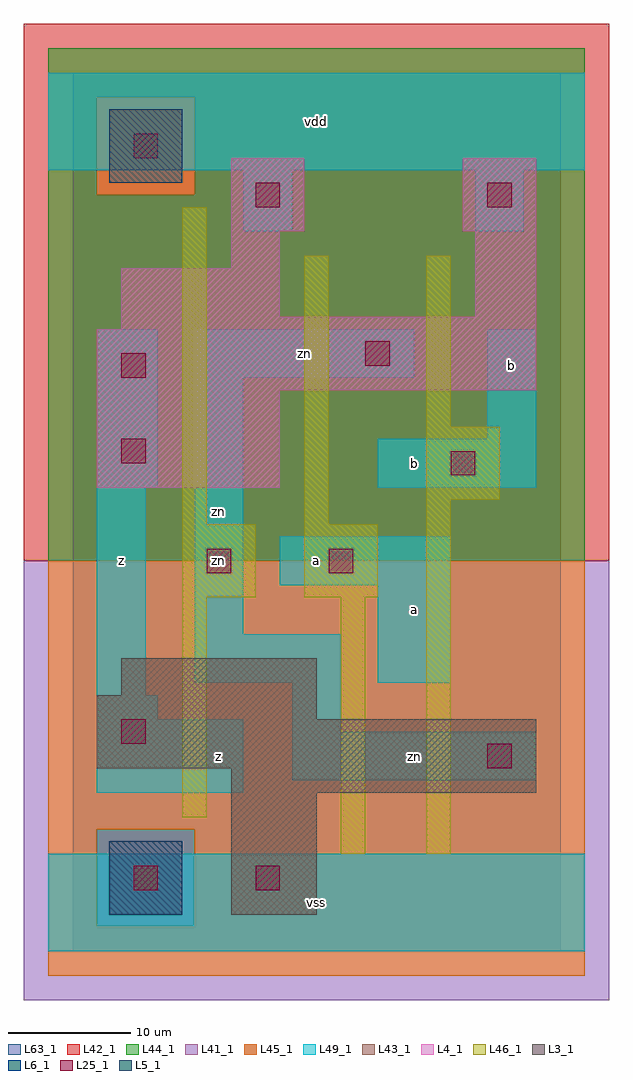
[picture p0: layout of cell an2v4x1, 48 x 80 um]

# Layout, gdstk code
import gdstk
lib = gdstk.Library(unit=1e-6, precision=1e-09)
def R(c, l, rs):  # rectangles x0, y0, x1, y1
    for r in rs: c.add(gdstk.rectangle(r[:2], r[2:], *l))
L3_1 = (3, 1)
L4_1 = (4, 1)
L5_1 = (5, 1)
L6_1 = (6, 1)
L25_1 = (25, 1)
L41_1 = (41, 1)
L42_1 = (42, 1)
L43_1 = (43, 1)
L44_1 = (44, 1)
L45_1 = (45, 1)
L46_1 = (46, 1)
L49_1 = (49, 1)
L63_1 = (63, 1)

an2v4x1 = lib.new_cell('an2v4x1')
R(an2v4x1, L3_1, [(13,3,20,13), (13,13,38,15), (2,15,38,19), (2,19,20,21), (4,21,20,24)])
R(an2v4x1, L4_1, [(2,38,17,46), (2,46,38,51), (4,51,38,52), (4,52,17,56), (33,52,38,59), (13,56,17,59), (13,59,19,65), (32,59,38,65)])
R(an2v4x1, L5_1, [(3,63,9,69)])
R(an2v4x1, L6_1, [(3,3,9,9), (3,3,9,9)])
R(an2v4x1, L25_1, [(5,5,7,7), (15,5,17,7), (34,15,36,17), (4,17,6,19), (11,31,13,33), (21,31,23,33), (31,39,33,41), (4,40,6,42), (4,47,6,49), (24,48,26,50), (15,61,17,63), (34,61,36,63), (5,65,7,67)])
R(an2v4x1, L41_1, [(-4,-4,44,32)])
R(an2v4x1, L42_1, [(-4,32,44,76)])
R(an2v4x1, L43_1, [(3,3,9,9), (13,3,20,13), (13,13,38,15), (2,15,38,19), (2,19,20,21), (4,21,20,24), (2,38,17,46), (2,46,38,51), (4,51,38,52), (4,52,17,56), (33,52,38,59), (13,56,17,59), (13,59,19,65), (32,59,38,65), (3,63,9,69)])
R(an2v4x1, L44_1, [(2,2,10,10), (-2,32,42,62), (-2,62,2,70), (10,62,42,70), (-2,70,42,74)])
R(an2v4x1, L45_1, [(-2,-2,42,2), (-2,2,2,10), (10,2,42,10), (-2,10,42,32), (2,62,10,70)])
R(an2v4x1, L46_1, [(22,8,24,29), (29,8,31,37), (9,11,11,29), (9,29,15,35), (19,29,25,35), (9,35,11,61), (19,35,21,57), (29,37,35,43), (29,43,31,57)])
R(an2v4x1, L49_1, [(-2,0,42,8), (2,13,14,19), (18,14,38,18), (18,18,22,22), (2,19,7,21), (2,21,6,38), (10,22,22,26), (25,22,31,30), (10,26,14,47), (17,30,31,34), (2,38,7,51), (25,38,38,42), (34,42,38,51), (10,47,28,51), (14,59,18,64), (33,59,37,64), (-2,64,42,72)])
R(an2v4x1, L63_1, [(0,0,40,72)])
an2v4x1.add(gdstk.Label('zn', (12,32), layer=49, texttype=1))
an2v4x1.add(gdstk.Label('z', (4,32), layer=49, texttype=1))
an2v4x1.add(gdstk.Label('z', (12,16), layer=49, texttype=1))
an2v4x1.add(gdstk.Label('zn', (12,36), layer=49, texttype=1))
an2v4x1.add(gdstk.Label('vss', (20,4), layer=49, texttype=1))
an2v4x1.add(gdstk.Label('a', (20,32), layer=49, texttype=1))
an2v4x1.add(gdstk.Label('a', (28,28), layer=49, texttype=1))
an2v4x1.add(gdstk.Label('b', (28,40), layer=49, texttype=1))
an2v4x1.add(gdstk.Label('zn', (19,49), layer=49, texttype=1))
an2v4x1.add(gdstk.Label('vdd', (20,68), layer=49, texttype=1))
an2v4x1.add(gdstk.Label('zn', (28,16), layer=49, texttype=1))
an2v4x1.add(gdstk.Label('b', (36,48), layer=49, texttype=1))

lib.write_gds('an2v4x1.gds')
